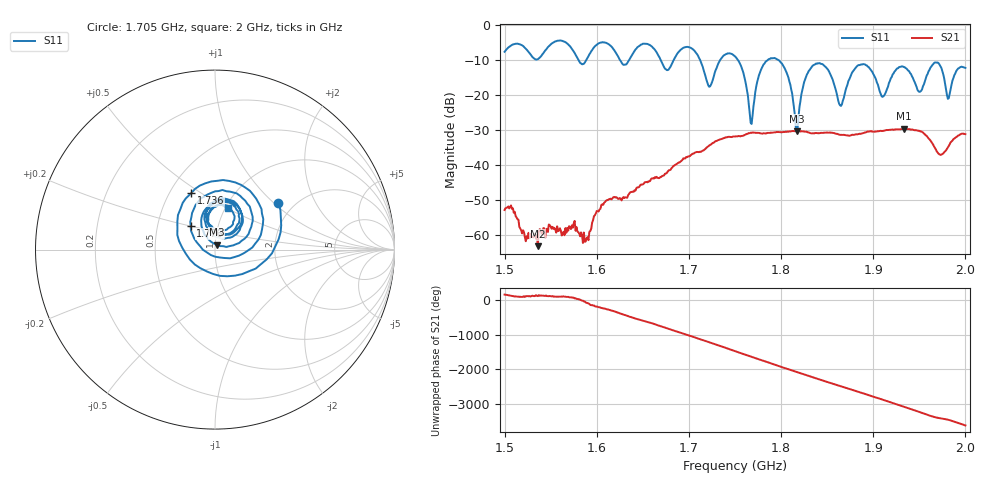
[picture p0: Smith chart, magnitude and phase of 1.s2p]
! NanoVNA-App by SYSJOINT et al v1.1.209 (+OD18)
! Date: 2026-01-21 14:51:21
! Start: 1,5GHz Stop: 2GHz Points: 501
! S-Parameter data: F S11 S21 S12 S22
# Hz S RI R 50
!  Frequency  S11_Real  S11_Imag  S21_Real  S21_Imag  S12_Real  S12_Imag  S22_Real  S22_Imag
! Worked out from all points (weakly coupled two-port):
!   501 points, 1.5 GHz to 2 GHz, reference 50 ohm
!   highest |S21| = -29.72 dB at 1.933 GHz (marker M1); lowest = -63.3 dB at 1.536 GHz (marker M2)
!   lowest |S11| = -30.5 dB at 1.817 GHz (marker M3), VSWR 1.06, Z = 50.9 + j2.88 ohm
!   |S11| at or under -10 dB: 1.712 GHz to 1.734 GHz (21.93 MHz wide, 1.27 % of centre); 1.753 GHz to 1.786 GHz (32.7 MHz wide, 1.85 % of centre); 1.797 GHz to end of sweep (the widest 3 of 6)
!   S12 and S22 are empty: the file has one direction only
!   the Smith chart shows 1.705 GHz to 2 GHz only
!   S11 on the Smith chart (normalised r, x): 1.705 GHz: 1.67, +1.07; 1.736 GHz: 0.64, +0.45; 1.776 GHz: 0.74, +0.20; 2 GHz: 1.03, +0.51
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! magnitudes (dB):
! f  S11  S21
! 1.5 GHz  -7.7  -53.0
! 1.536 GHz  -9.8  -63.3
! 1.561 GHz  -4.5  -58.8
! 1.584 GHz  -11.3  -60.3
! 1.667 GHz  -8.9  -43.9
! 1.705 GHz  -7.2  -36.9
! 1.722 GHz  -17.7  -34.6
! 1.736 GHz  -9.4  -32.6
! 1.75 GHz  -9.0  -32.0
! 1.767 GHz  -28.0  -30.9
! 1.776 GHz  -14.4  -30.9
! 1.8 GHz  -10.9  -30.8
! 1.817 GHz  -30.5  -30.3
! 1.834 GHz  -11.8  -31.0
! 1.864 GHz  -23.0  -31.5
! 1.885 GHz  -11.5  -31.2
! 1.917 GHz  -16.7  -30.1
! 1.933 GHz  -12.1  -29.7
! 1.95 GHz  -19.2  -30.3
! 1.97 GHz  -10.8  -36.6
! 1.981 GHz  -21.2  -35.0
! 2 GHz  -12.3  -31.3
